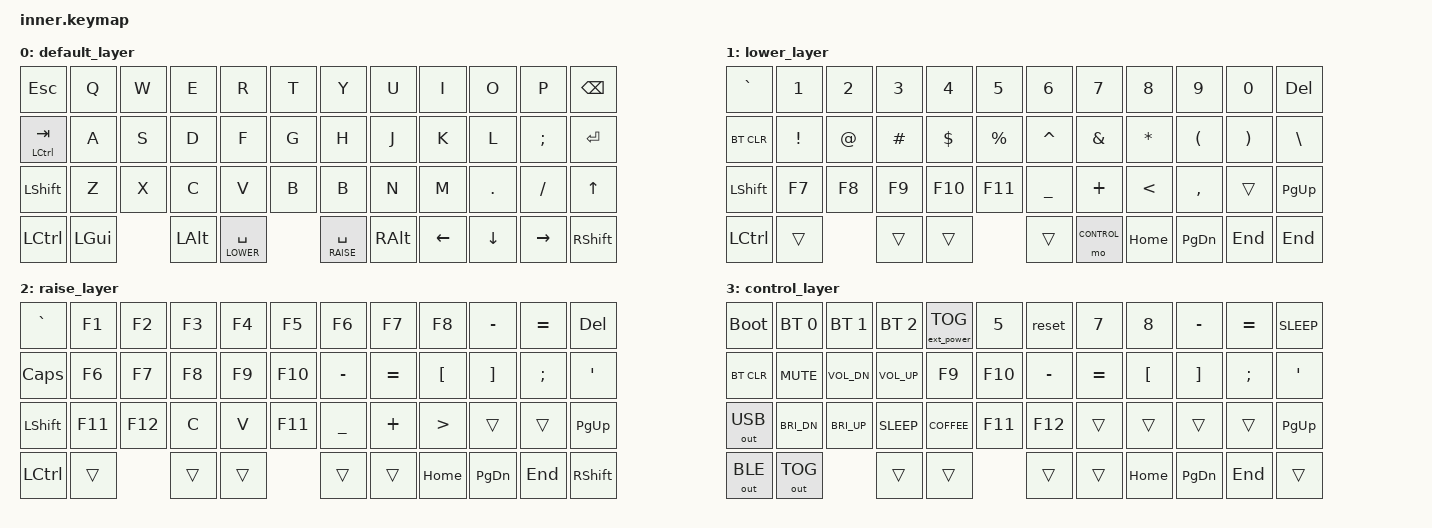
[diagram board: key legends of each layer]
/*
 * Copyright (c) 2022 The ZMK Contributors
 *
 * SPDX-License-Identifier: MIT
 */

#include <behaviors.dtsi>
#include <dt-bindings/zmk/keys.h>
#include <dt-bindings/zmk/bt.h>
#include <dt-bindings/zmk/outputs.h>
#include <dt-bindings/zmk/ext_power.h>

#define DEFAULT 0
#define LOWER   1
#define RAISE   2
#define CONTROL 3

&mt {
    tapping-term-ms = <160>;
    flavor = "tap-preferred";
};

&lt {
    tapping-term-ms = <160>;
    flavor = "tap-preferred";
};

/ {

    behaviors {
        hm: homerow_mods {
            compatible = "zmk,behavior-hold-tap";
            label = "HOMEROW_MODS";
            #binding-cells = <2>;
            tapping-term-ms = <160>;
            quick-tap-ms = <0>;
            flavor = "tap-preferred";
            bindings = <&kp>, <&kp>;
        };
        hr: homerow_mods_ring_finger {
            compatible = "zmk,behavior-hold-tap";
            label = "HOMEROW_MODS_RING_FINGER";
            #binding-cells = <2>;
            tapping-term-ms = <190>;
            quick-tap-ms = <0>;
            flavor = "tap-preferred";
            bindings = <&kp>, <&kp>;
        };
        hp: homerow_mods_pinky_finger {
            compatible = "zmk,behavior-hold-tap";
            label = "HOMEROW_MODS_PINKY_FINGER";
            #binding-cells = <2>;
            tapping-term-ms = <220>;
            quick-tap-ms = <0>;
            flavor = "tap-preferred";
            bindings = <&kp>, <&kp>;
        };
        tm: thumb_mods {
            compatible = "zmk,behavior-hold-tap";
            label = "THUMB_MODS";
            #binding-cells = <2>;
            tapping-term-ms = <160>;
            quick-tap-ms = <160>;
            flavor = "tap-preferred";
            bindings = <&kp>, <&kp>;
        };
        lh: layer_hold {
            compatible = "zmk,behavior-hold-tap";
            label = "LAYER_HOLD";
            #binding-cells = <2>;
            tapping-term-ms = <160>;
            quick-tap-ms = <160>;
            flavor = "tap-preferred";
            bindings = <&mo>, <&kp>;
        };

        // Easy alt-tab with alt+backspace thumb using mod-morphs
        bstab: backspace_tab {
            compatible = "zmk,behavior-mod-morph";
            label = "BSPC_TAB";
            #binding-cells = <0>;
            bindings = <&kp BSPC>, <&kp TAB>;
            mods = <MOD_LALT>;
        };
        lt_bspc: layer_tap_backspace_tab {
            compatible = "zmk,behavior-hold-tap";
            label = "LT_BT";
            #binding-cells = <2>;
            tapping-term-ms = <150>;
            flavor = "balanced";
            bindings = <&mo>, <&bstab>;
        };
    };

    combos {
        compatible = "zmk,combos";

        combo_caps {
            timeout-ms = <50>;
            key-positions = <14 17>;
            layers = <0>;
            bindings = <&caps_word>;
        };
    };

/ {
    keymap {
        compatible = "zmk,keymap";

        default_layer {

//**************************************************************
//| ESC  | Q | W | E | R    | T | Y    | U | I | O | P | BKSP  |
//| TAB  | A | S | D | F    | G | H    | J | K | L | " | ENTER |
//| LSFT | Z | X | C | V    | B | B    | N | M | > | / | UP    | 
//| RCTL | S |   |ALT|SPCFN1|   |SPCFN2|ALT|LFT|DON|RGT| RSFT  | 
//**************************************************************
            bindings = <
                &kp ESC        &kp Q    &kp W  &kp E     &kp R              &kp T  &kp Y              &kp U     &kp I    &kp O     &kp P      &kp BSPC
                &mt LCTRL TAB  &kp A    &kp S  &kp D     &kp F              &kp G  &kp H              &kp J     &kp K    &kp L     &kp SEMI   &kp RET
                &kp LSHFT      &kp Z    &kp X  &kp C     &kp V              &kp B  &kp B              &kp N     &kp M    &kp DOT   &kp SLASH  &kp UP
                &kp LCTRL      &kp LGUI        &kp LALT  &lt LOWER SPACE           &lt RAISE  SPACE   &kp RALT  &kp LEFT &kp DOWN  &kp RIGHT  &kp RSHFT

            >;
        };

        lower_layer {

//**********************************************************
//| ~`   | 1 | 2 | 3 | 4 | 5 | 6 | 7 | 8  | 9  | 0 | DEL   |
//| TAB  | ! | @ | # | $ | % | ^ | & | *  | (  | ) | |\    |
//| LSFT | Z | X | C | V | B | B | N | M  | >  | / | PGUP  | 
//| RCTL | S |   |ALT|SPC|   |SPC|ALT|HOME|PGDN|END| RSFT  | 
//**********************************************************
            bindings = <
                &kp GRAVE   &kp N1     &kp N2  &kp N3    &kp N4   &kp N5    &kp N6     &kp N7       &kp N8    &kp N9     &kp N0    &kp DEL
                &bt BT_CLR  &kp EXCL   &kp AT  &kp HASH  &kp DLLR &kp PRCNT &kp CARET  &kp AMPS     &kp STAR  &kp LPAR   &kp RPAR  &kp BSLH
                &kp LSHFT   &kp F7     &kp F8  &kp F9    &kp F10  &kp F11   &kp UNDER  &kp PLUS     &kp LT    &kp COMMA  &trans    &kp PG_UP
                &kp LCTRL   &trans             &trans    &trans             &trans     &mo CONTROL  &kp HOME  &kp PG_DN  &kp END   &kp END
            >;
        };

        raise_layer {

//*********************************************************************
//| ~`   | F1  | F2  | F3 | F4  | F5  | F6 | 7  | 8   | -_  | =+ |DEL |
//| CAPS | F6  | F7  | F8 | F9  | F10 | -_ | =+ | [{  | ]}  | :; |'"  |
//| LSFT | F11 | F12 |COPY|PASTE| B   | B  | N  | M   | >   | /  |PGUP| 
//| RCTL | S   |     |ALT |SPC  |     |SPC |ALT |HOME |PGDN |END |MO3 | 
//*********************************************************************
            bindings = <
                &kp GRAVE  &kp F1   &kp F2  &kp F3  &kp F4  &kp F5   &kp F6    &kp F7    &kp F8    &kp MINUS   &kp EQUAL   &kp DEL
                &kp CAPS   &kp F6   &kp F7  &kp F8  &kp F9  &kp F10  &kp MINUS &kp EQUAL &kp LBKT  &kp RBKT    &kp SEMI    &kp SQT
                &kp LSHFT  &kp F11  &kp F12 &kp C   &kp V   &kp F11  &kp UNDER &kp PLUS  &kp GT    &trans      &trans      &kp PG_UP
                &kp LCTRL  &trans           &trans  &trans           &trans    &trans    &kp HOME  &kp PG_DN   &kp END     &kp RSHFT
            >;
        };

        control_layer {

//*********************************************************************
//|bl   | BT1 | BT2 | BT3 | F4 | F5  |reset| 7  | 8   | -_  | =+ | DEL |
//| TAB | F6  | F7  | F8  | F9 | F10 | -_  | =+ | [{  | ]}  | :; | '"  |
//| USB | F11 | F12 | C   | V  | B   | B   | N  | M   | >   | /  | PGUP| 
//| BLE | S   |     | ALT |SPC |     |SPC  |ALT |HOME |PGDN |END | RSFT|
//*********************************************************************
            bindings = <
                &bootloader   &bt BT_SEL 0   &bt BT_SEL 1  &bt BT_SEL 2   &ext_power EP_TOG  &kp 5     &reset      &kp 7    &kp 8     &kp MINUS  &kp EQUAL  &kp K_SLEEP
                &bt BT_CLR    &kp C_MUTE     &kp C_VOL_DN  &kp C_VOL_UP   &kp F9             &kp F10   &kp MINUS  &kp EQUAL &kp LBKT  &kp RBKT   &kp SEMI   &kp SQT
                &out OUT_USB  &kp C_BRI_DN   &kp C_BRI_UP  &kp K_SLEEP    &kp K_COFFEE       &kp F11   &kp F12    &trans    &trans    &trans     &trans     &kp PG_UP
                &out OUT_BLE  &out OUT_TOG                 &trans         &trans                       &trans     &trans    &kp HOME  &kp PG_DN  &kp END    &trans
            >;
        };

    };
};
